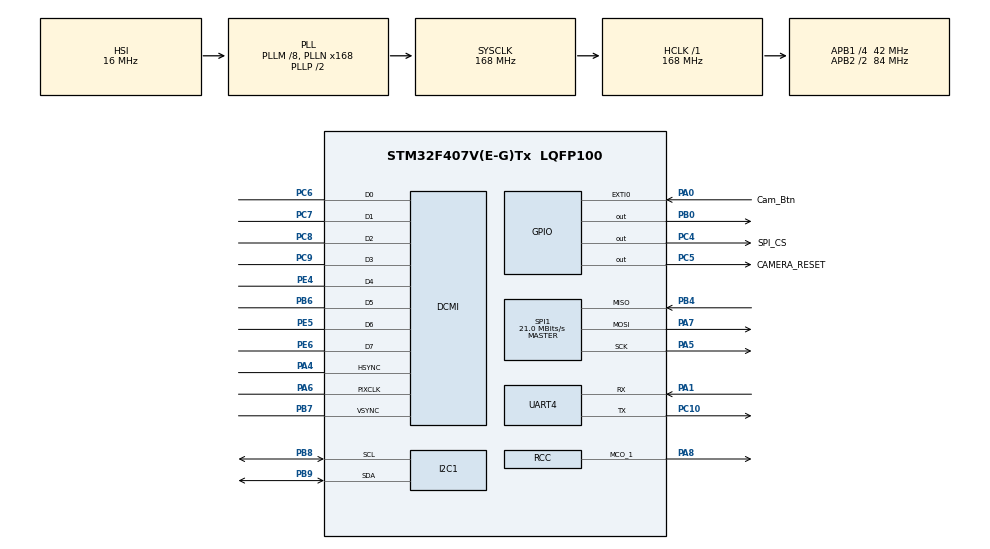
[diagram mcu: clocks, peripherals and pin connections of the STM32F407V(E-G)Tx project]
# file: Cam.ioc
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DCMI.HSPolarity=DCMI_HSPOLARITY_LOW
DCMI.PCKPolarity=DCMI_PCKPOLARITY_RISING
DCMI.VSPolarity=DCMI_VSPOLARITY_HIGH
Dma.DCMI.0.Direction=DMA_PERIPH_TO_MEMORY
Dma.DCMI.0.FIFOMode=DMA_FIFOMODE_ENABLE
Dma.DCMI.0.FIFOThreshold=DMA_FIFO_THRESHOLD_FULL
Dma.DCMI.0.Instance=DMA2_Stream1
Dma.DCMI.0.MemBurst=DMA_MBURST_INC4
Dma.DCMI.0.MemDataAlignment=DMA_MDATAALIGN_WORD
Dma.DCMI.0.MemInc=DMA_MINC_ENABLE
Dma.DCMI.0.Mode=DMA_NORMAL
Dma.DCMI.0.PeriphBurst=DMA_PBURST_SINGLE
Dma.DCMI.0.PeriphDataAlignment=DMA_PDATAALIGN_WORD
Dma.DCMI.0.PeriphInc=DMA_PINC_DISABLE
Dma.DCMI.0.Priority=DMA_PRIORITY_LOW
Dma.Request0=DCMI
FATFS._MAX_SS=4096
Mcu.Family=STM32F4
Mcu.Name=STM32F407V(E-G)Tx
Mcu.Package=LQFP100
NVIC.DCMI_IRQn=true\:0\:0\:false\:false\:true\:true\:true
NVIC.DMA2_Stream1_IRQn=true\:0\:0\:false\:false\:true\:false\:true
NVIC.EXTI0_IRQn=true\:0\:0\:false\:false\:true\:true\:true
NVIC.I2C1_ER_IRQn=true\:0\:0\:false\:false\:true\:true\:true
NVIC.I2C1_EV_IRQn=true\:0\:0\:false\:false\:true\:true\:true
NVIC.PriorityGroup=NVIC_PRIORITYGROUP_4
NVIC.UART4_IRQn=true\:0\:0\:false\:false\:true\:true\:true
PA0-WKUP.GPIO_Label=Cam_Btn
PA0-WKUP.Signal=GPXTI0
PA1.Mode=Asynchronous
PA1.Signal=UART4_RX
PA4.GPIO_Speed=GPIO_SPEED_FREQ_LOW
PA4.Mode=Slave_8_bits_External_Synchro
PA4.Signal=DCMI_HSYNC
PA5.Mode=Full_Duplex_Master
PA5.Signal=SPI1_SCK
PA6.Mode=Slave_8_bits_External_Synchro
PA6.Signal=DCMI_PIXCLK
PA7.Mode=Full_Duplex_Master
PA7.Signal=SPI1_MOSI
PA8.GPIO_PuPd=GPIO_PULLUP
PA8.GPIO_Speed=GPIO_SPEED_FREQ_HIGH
PA8.Mode=Clock-out-1
PA8.Signal=RCC_MCO_1
PB0.Signal=GPIO_Output
PB4.Mode=Full_Duplex_Master
PB4.Signal=SPI1_MISO
PB6.Mode=Slave_8_bits_External_Synchro
PB6.Signal=DCMI_D5
PB7.Mode=Slave_8_bits_External_Synchro
PB7.Signal=DCMI_VSYNC
PB8.Mode=I2C
PB8.Signal=I2C1_SCL
PB9.Mode=I2C
PB9.Signal=I2C1_SDA
PC10.Mode=Asynchronous
PC10.Signal=UART4_TX
PC4.GPIO_Label=SPI_CS
PC4.Signal=GPIO_Output
PC5.GPIO_Label=CAMERA_RESET
PC5.Signal=GPIO_Output
PC6.Mode=Slave_8_bits_External_Synchro
PC6.Signal=DCMI_D0
PC7.Mode=Slave_8_bits_External_Synchro
PC7.Signal=DCMI_D1
PC8.Mode=Slave_8_bits_External_Synchro
PC8.Signal=DCMI_D2
PC9.Mode=Slave_8_bits_External_Synchro
PC9.Signal=DCMI_D3
PE4.Mode=Slave_8_bits_External_Synchro
PE4.Signal=DCMI_D4
PE5.Mode=Slave_8_bits_External_Synchro
PE5.Signal=DCMI_D6
PE6.Mode=Slave_8_bits_External_Synchro
PE6.Signal=DCMI_D7
PH0-OSC_IN.Mode=HSE-External-Oscillator
PH0-OSC_IN.Signal=RCC_OSC_IN
PH1-OSC_OUT.Mode=HSE-External-Oscillator
PH1-OSC_OUT.Signal=RCC_OSC_OUT
ProjectManager.HeapSize=0x200
ProjectManager.StackSize=0x400
ProjectManager.TargetToolchain=STM32CubeIDE
RCC.48MHZClocksFreq_Value=84000000
RCC.AHBFreq_Value=168000000
RCC.APB1CLKDivider=RCC_HCLK_DIV4
RCC.APB1Freq_Value=42000000
RCC.APB1TimFreq_Value=84000000
RCC.APB2CLKDivider=RCC_HCLK_DIV2
RCC.APB2Freq_Value=84000000
RCC.APB2TimFreq_Value=168000000
RCC.CortexFreq_Value=168000000
RCC.HCLKFreq_Value=168000000
RCC.HSE_VALUE=8000000
RCC.HSI_VALUE=16000000
RCC.LSE_VALUE=32768
RCC.PLLM=8
RCC.PLLN=168
RCC.SYSCLKFreq_VALUE=168000000
RCC.SYSCLKSource=RCC_SYSCLKSOURCE_PLLCLK
RCC.VCOOutputFreq_Value=336000000
SPI1.BaudRatePrescaler=SPI_BAUDRATEPRESCALER_4
SPI1.CalculateBaudRate=21.0 MBits/s
SPI1.Direction=SPI_DIRECTION_2LINES
SPI1.Mode=SPI_MODE_MASTER
SPI1.VirtualType=VM_MASTER
UART4.VirtualMode=Asynchronous
VP_FATFS_VS_Generic.Mode=User_defined
board=custom

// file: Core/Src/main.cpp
/* USER CODE BEGIN Header */
/**
  ******************************************************************************
  * @file           : main.c
  * @brief          : Main program body
  ******************************************************************************
  * @attention
  *
  * <h2><center>&copy; Copyright (c) 2022 STMicroelectronics.
  * All rights reserved.</center></h2>
  *
  * This software component is licensed by ST under BSD 3-Clause license,
  * the "License"; You may not use this file except in compliance with the
  * License. You may obtain a copy of the License at:
  *                        opensource.org/licenses/BSD-3-Clause
  *
  ******************************************************************************
  */
/* USER CODE END Header */
#include "main.h"
#include "fatfs.h"

/* USER CODE BEGIN Includes */
#include <stdlib.h>
#include "camera.h"

#include "DataLinKLayer.h"
#include "CRC.h"
#include "stm32f407xx.h"
#include "bmp.h"
/* USER CODE END Includes */

DCMI_HandleTypeDef hdcmi;
DMA_HandleTypeDef hdma_dcmi;

I2C_HandleTypeDef hi2c1;

SPI_HandleTypeDef hspi1;
UINT byteswritten;
bool write_flag = false;
UART_HandleTypeDef huart4;

void SystemClock_Config(void);
static void MX_GPIO_Init(void);
static void MX_DCMI_Init(void);
static void MX_I2C1_Init(void);
static void MX_SPI1_Init(void);
static void MX_DMA_Init(void);
static void MX_UART4_Init(void);
/* USER CODE BEGIN PFP */
void write(uint8_t val);
void read(uint8_t *UardRecivedData, uint16_t len);
TT_DataLinkLayerPoint<2048, 1000> ttDataLinkLayerPoint(write, read);
/* USER CODE END PFP */

/* USER CODE BEGIN 0 */
/*
static const uint8_t bmp_tou[54]={
		0x42, 0x4d, 0x36, 0x29, 0x01, 0x00, 0x00, 0x00, 0x00, 0x00, 0x36, 0x00, 0x00, 0x00, 0x28, 0x00,
		0x00, 0x00, 0xb0, 0x00, 0x00, 0x00, 0x90, 0x00, 0x00, 0x00, 0x01, 0x00, 0x18, 0x00, 0x00, 0x00,
		0x00, 0x00, 0x00, 0x29, 0x01, 0x00, 0x00, 0x00, 0x00, 0x00, 0x00, 0x00, 0x00, 0x00, 0x00, 0x00,
		0x00, 0x00, 0x00, 0x00, 0x00, 0x00
       };
*/
/*//174*120
static const uint8_t bmp_tou[54]={
		0x42, 0x4d, 0xb6, 0xf7, 0x00, 0x00, 0x00, 0x00, 0x00, 0x00, 0x36, 0x00, 0x00, 0x00, 0x28, 0x00,
		0x00, 0x00, 0xb0, 0x00, 0x00, 0x00, 0x78, 0x00, 0x00, 0x00, 0x01, 0x00, 0x18, 0x00, 0x00, 0x00,
		0x00, 0x00, 0x00, 0xf7, 0x01, 0x00, 0x00, 0x00, 0x00, 0x00, 0x00, 0x00, 0x00, 0x00, 0x00, 0x00,
		0x00, 0x00, 0x00, 0x00, 0x00, 0x00
       };

//*/
/*//144*176
static const uint8_t bmp_tou[54]={
		0x42, 0x4d, 0x36, 0x29, 0x01, 0x00, 0x00, 0x00, 0x00, 0x00, 0x36, 0x00, 0x00, 0x00, 0x28, 0x00,
		0x00, 0x00, 0x90, 0x00, 0x00, 0x00, 0xb0, 0x00, 0x00, 0x00, 0x01, 0x00, 0x18, 0x00, 0x00, 0x00,
		0x00, 0x00, 0x00, 0x29, 0x01, 0x00, 0x00, 0x00, 0x00, 0x00, 0x00, 0x00, 0x00, 0x00, 0x00, 0x00,
		0x00, 0x00, 0x00, 0x00, 0x00, 0x00
       };

//*/
/*//174*120
static const uint8_t bmp_tou[54]={
		0x42, 0x4D, 0xD6, 0xF5, 0x00, 0x00, 0x00, 0x00, 0x00, 0x00, 0x36, 0x00, 0x00, 0x00, 0x28, 0x00,
		0x00, 0x00, 0xAE, 0x00, 0x00, 0x00, 0x78, 0x00, 0x00, 0x00, 0x01, 0x00, 0x18, 0x00, 0x00, 0x00,
		0x00, 0x00, 0xA0, 0xF5, 0x00, 0x00, 0x74, 0x12, 0x00, 0x00, 0x74, 0x12, 0x00, 0x00, 0x00, 0x00,
		0x00, 0x00, 0x00, 0x00, 0x00, 0x00
       };

//*/
//176*144
/*
static const uint8_t bmp_tou[54]={
		0x42, 0x4d, 0xf6, 0x26, 0x01, 0x00, 0x00, 0x00, 0x00, 0x00, 0x36, 0x00, 0x00, 0x00, 0x28, 0x00,
		0x00, 0x00, 0xae, 0x00, 0x00, 0x00, 0x90, 0x00, 0x00, 0x00, 0x01, 0x00, 0x18, 0x00, 0x00, 0x00,
		0x00, 0x00, 0xc0, 0x26, 0x01, 0x00, 0x00, 0x00, 0x00, 0x00, 0x00, 0x00, 0x00, 0x00, 0x00, 0x00,
		0x00, 0x00, 0x00, 0x00, 0x00, 0x00
       };
//*/

//171*144
/*
static const uint8_t bmp_tou[54]={
		0x42, 0x4d, 0xc6, 0x20, 0x01, 0x00, 0x00, 0x00, 0x00, 0x00, 0x36, 0x00, 0x00, 0x00, 0x28, 0x00,
		0x00, 0x00, 0x90, 0x00, 0x00, 0x00, 0xab, 0x00, 0x00, 0x00, 0x01, 0x00, 0x18, 0x00, 0x00, 0x00,
		0x00, 0x00, 0x00, 0x00, 0x00, 0x00, 0xc4, 0x0e, 0x00, 0x00, 0xc4, 0x0e, 0x00, 0x00, 0x00, 0x00,
		0x00, 0x00, 0x00, 0x00, 0x00, 0x00
       };
//*/

//171*145
//*
static const uint8_t bmp_tou[54]={
		0x42, 0x4d, 0x7a, 0x24, 0x01, 0x00, 0x00, 0x00, 0x00, 0x00, 0x36, 0x00, 0x00, 0x00, 0x28, 0x00,
		0x00, 0x00, 0xab, 0x00, 0x00, 0x00, 0x91, 0x00, 0x00, 0x00, 0x01, 0x00, 0x18, 0x00, 0x00, 0x00,
		0x00, 0x00, 0x44, 0x24, 0x01, 0x00, 0x00, 0x00, 0x00, 0x00, 0x00, 0x00, 0x00, 0x00, 0x00, 0x00,
		0x00, 0x00, 0x00, 0x00, 0x00, 0x00
       };
//*/

//320*144
/*
static const uint8_t bmp_tou[54]={
		0x42, 0x4d, 0x36, 0x1c, 0x02, 0x00, 0x00, 0x00, 0x00, 0x00, 0x36, 0x00, 0x00, 0x00, 0x28, 0x00,
		0x00, 0x00, 0x40, 0x01, 0x00, 0x00, 0x90, 0x00, 0x00, 0x00, 0x01, 0x00, 0x18, 0x00, 0x00, 0x00,
		0x00, 0x00, 0x1c, 0x02, 0x00, 0x00, 0x00, 0x00, 0x00, 0x00, 0x00, 0x00, 0x00, 0x00, 0x00, 0x00,
		0x00, 0x00, 0x00, 0x00, 0x00, 0x00
       };
//*/
uint8_t buffer[6];

uint8_t R,G,B;

uint16_t adres[IMAGE_SIZE]={0};

FATFS fs;  // file system
FIL fil; // File
FILINFO fno;
FRESULT fresult;  // result
UINT br, bw;  // File read/write count

/**** capacity related *****/
FATFS *pfs;
DWORD fre_clust;
uint32_t total, free_space;

uint8_t white[690]={0xFF};

#define RGB565_TO_R(pixel)   (((pixel & 0x1F) << 3) | ((((pixel & 0x1F) << 3) & 0xE0) >> 5));
#define RGB565_TO_G(pixel)   (((pixel & 0x7E0) >> 3) | ((((pixel & 0x7E0) >> 3) & 0xC0) >> 6));
#define RGB565_TO_B(pixel)   (((pixel & 0xF800) >> 8) | ((((pixel & 0xF800) >> 8) & 0xE0) >> 5));

void createPhoto()
{
	uint8_t finish = 0x03;
	write_flag = false;
	//отправка шапки
	ttDataLinkLayerPoint.Send(bmp_tou,54);
	while(write_flag == false);
	write_flag = false;
//	ttDataLinkLayerPoint.Send(bmpData,74442);
	//ttDataLinkLayerPoint.send(adres,IMAGE_SIZE);
	//*
	uint16_t rgb_datr;
	uint32_t adress;
	for (int i = 0; i < IMAGE_SIZE; i++)
	{
//		adress = adres[i] ;
//		rgb_datr = adress & 0x0000FFFF;
//		buffer[2] = RGB565_TO_B(rgb_datr);
//		buffer[1] = RGB565_TO_G(rgb_datr);
//		buffer[0] = RGB565_TO_R(rgb_datr);

//		ttDataLinkLayerPoint.Send(buffer,3);
//		while(write_flag == false);
//		write_flag = false;
//		HAL_Delay(1);

//		rgb_datr = (adress>>16) & 0xFFFF;
		buffer[2] = RGB565_TO_B(adres[i]);
		buffer[1] = RGB565_TO_G(adres[i]);
		buffer[0] = RGB565_TO_R(adres[i]);

		ttDataLinkLayerPoint.Send(buffer,3);
		while(write_flag == false);
		write_flag = false;
//		HAL_Delay(1);

	}
	//*/
/*
	uint8_t *buf = (uint8_t *) adres;
	int length = IMAGE_SIZE * 4;
	for(int i=231; i < length; i+=2)
	{
		buffer[0] = buf[i];
		buffer[1] = buf[i];
		buffer[2] = buf[i];
		ttDataLinkLayerPoint.Send(buffer,3);
	}
	*/

	ttDataLinkLayerPoint.Send(white,690);

	for(int i = 0; i < 0xFFFF; i++);
	ttDataLinkLayerPoint.Send(&finish,1);

//	while(1);
//	fresult = f_mount(&fs, "/", 1);
//	f_getfree("", &fre_clust, &pfs);
//	total = (uint32_t)((pfs->n_fatent - 2) * pfs->csize * 0.5);
//	free_space = (uint32_t)(fre_clust * pfs->csize * 0.5);
//	fresult = f_open(&fil, "file.bmp", FA_OPEN_ALWAYS | FA_READ | FA_WRITE);
//
//	fresult = f_write(&fil,bmp_tou,54,&byteswritten);
	//f_write(&fil,white,115,1);
	/*
	uint8_t *buf = (uint8_t *) adres;
	int length = IMAGE_SIZE * 4;
	for(int i=231; i < length; i+=2)
	{
		buffer[0] = buf[i];
		buffer[1] = buf[i];
		buffer[2] = buf[i];
		f_write(&fil,buffer,3,1);
	}
	//*/

	//*
//	uint16_t rgb_datr;
//	uint32_t adress;
//	for (int i = 0; i < IMAGE_SIZE; i++)
//	{
//		adress = adres[i];
//
//		rgb_datr =(uint16_t) adress;
//		/*
//		B = (uint8_t)(rgb_datr & 0x1f);
//		B = (uint8_t)(8.225*B);
//		G = (uint8_t)((rgb_datr>>5) & 0x3f);
//		G = (uint8_t)(4.047*G);
//		R = (uint8_t)((rgb_datr>>11) & 0x1f);
//		R = (uint8_t)(8.225*R);
//		buffer[2] = B;
//		buffer[1] = G;
//		buffer[0] = R;
//		*/
//		buffer[2] = RGB565_TO_B(rgb_datr);
//		buffer[1] = RGB565_TO_G(rgb_datr);
//		buffer[0] = RGB565_TO_R(rgb_datr);
//
//		f_write(&fil,buffer,3,&byteswritten);
//
//		rgb_datr = (adress>>16);
//		/*
//		B = (uint8_t)(rgb_datr & 0x1f);
//		B = (uint8_t)(8.225*B);
//		G = (uint8_t)((rgb_datr>>5) & 0x3f);
//		G = (uint8_t)(4.047*G);
//		R = (uint8_t)((rgb_datr>>11) & 0x1f);
//		R = (uint8_t)(8.225*R);
//		buffer[2] = B;
//		buffer[1] = G;
//		buffer[0] = R;
//		*/
//		buffer[2] = RGB565_TO_B(rgb_datr);
//		buffer[1] = RGB565_TO_G(rgb_datr);
//		buffer[0] = RGB565_TO_R(rgb_datr);
//
//		fresult = f_write(&fil,buffer,3,&byteswritten);
//
//
//	}
//*/
//	f_close(&fil);
}

void createPhotoFlesh()
{
		fresult = f_mount(&fs, "/", 1);
		f_getfree("", &fre_clust, &pfs);
		total = (uint32_t)((pfs->n_fatent - 2) * pfs->csize * 0.5);
		free_space = (uint32_t)(fre_clust * pfs->csize * 0.5);
		fresult = f_open(&fil, "file.bmp", FA_OPEN_ALWAYS | FA_READ | FA_WRITE);

		fresult = f_write(&fil,bmp_tou,54,&byteswritten);

		/*
		f_write(&fil,white,115,1);
		uint8_t *buf = (uint8_t *) adres;
		int length = IMAGE_SIZE * 4;
		for(int i=231; i < length; i+=2)
		{
			buffer[0] = buf[i];
			buffer[1] = buf[i];
			buffer[2] = buf[i];
			f_write(&fil,buffer,3,1);
		}
		//*/

		//*
		uint16_t rgb_datr;
		uint32_t adress;
		for (int i = 0; i < IMAGE_SIZE; i++)
		{
//			adress = adres[i];

//			rgb_datr =(uint16_t) adress;
			/*
			B = (uint8_t)(rgb_datr & 0x1f);
			B = (uint8_t)(8.225*B);
			G = (uint8_t)((rgb_datr>>5) & 0x3f);
			G = (uint8_t)(4.047*G);
			R = (uint8_t)((rgb_datr>>11) & 0x1f);
			R = (uint8_t)(8.225*R);
			buffer[2] = B;
			buffer[1] = G;
			buffer[0] = R;
			*/
			buffer[2] = RGB565_TO_B(adres[i]);
			buffer[1] = RGB565_TO_G(adres[i]);
			buffer[0] = RGB565_TO_R(adres[i]);

//			f_write(&fil,buffer,3,&byteswritten);

//			rgb_datr = (adress>>16);
			/*
			B = (uint8_t)(rgb_datr & 0x1f);
			B = (uint8_t)(8.225*B);
			G = (uint8_t)((rgb_datr>>5) & 0x3f);
			G = (uint8_t)(4.047*G);
			R = (uint8_t)((rgb_datr>>11) & 0x1f);
			R = (uint8_t)(8.225*R);
			buffer[2] = B;
			buffer[1] = G;
			buffer[0] = R;

			*/
//			buffer[5] = RGB565_TO_B(rgb_datr);
//			buffer[4] = RGB565_TO_G(rgb_datr);
//			buffer[3] = RGB565_TO_R(rgb_datr);

			fresult = f_write(&fil,buffer,3,&byteswritten);

		}
	//*/
		f_close(&fil);
}

/* USER CODE END 0 */

int main(void)
{

  /* MCU Configuration--------------------------------------------------------*/

  /* Reset of all peripherals, Initializes the Flash interface and the Systick. */
  HAL_Init();

  /* Configure the system clock */
  SystemClock_Config();

  /* Initialize all configured peripherals */
  MX_GPIO_Init();
  MX_DMA_Init();
  MX_DCMI_Init();
  MX_I2C1_Init();
  MX_SPI1_Init();
  MX_FATFS_Init();
  MX_UART4_Init();
  uint8_t abc;
  HAL_UART_Receive_IT(&huart4, (uint8_t*)&abc, 1);
  /* USER CODE BEGIN 2 */

  //HAL_DCMI_Start_DMA(&hdcmi, DCMI_MODE_SNAPSHOT, (uint32_t)adres, 176*144/2);

  HAL_GPIO_WritePin(CAMERA_RESET_GPIO_Port, CAMERA_RESET_Pin, GPIO_PIN_SET);
  HAL_StatusTypeDef ret =  Camera_init(&hi2c1);

  while(ret != HAL_OK)
  {
	  ret = Camera_init(&hi2c1);
  }
  Camera_config();
  //1000 0000 0000 0011 _ 0110 0101 1010 00
  //1011 0000 1000 0110 _ 1011 0101 1000 0000
  //1000 0000 0000 1000 _ 0000 0000 0000 00

  //adres[2]=0xA1A1B1B1;
  //adres[3]=(uint32_t)&adres;
  HAL_Delay(1000);
  while(hdcmi.State != HAL_DCMI_STATE_READY)
  {

  }
  //HAL_GPIO_WritePin(GPIOB, GPIO_PIN_0, GPIO_PIN_SET);
  ret = HAL_DCMI_Start_DMA(&hdcmi, DCMI_MODE_SNAPSHOT, (uint32_t)adres, IMAGE_SIZE);
  //HAL_GPIO_WritePin(GPIOB, GPIO_PIN_0, GPIO_PIN_RESET);
  //HAL_DCMI_Stop(&hdcmi);

//  while((hdcmi.Instance->CR & DCMI_CR_CAPTURE)!= 0){
//
//  }

  //HAL_Delay(500);
//  ret = HAL_DCMI_Start_DMA(&hdcmi, DCMI_MODE_SNAPSHOT, (uint32_t)adres, IMAGE_SIZE);
//  HAL_Delay(500);
//  ret = HAL_DCMI_Start_DMA(&hdcmi, DCMI_MODE_SNAPSHOT, (uint32_t)adres, IMAGE_SIZE);
//  HAL_Delay(500);

  //HAL_DCMI_Stop(&hdcmi);

//  fresult = f_mount(&fs, "/", 1);

  /* Check free space */
//  f_getfree("", &fre_clust, &pfs);
//
//  total = (uint32_t)((pfs->n_fatent - 2) * pfs->csize * 0.5);
//
//  free_space = (uint32_t)(fre_clust * pfs->csize * 0.5);

  /* Open file to write/ create a file if it doesn't exist */
//  fresult = f_open(&fil, "file1.bmp", FA_OPEN_ALWAYS | FA_READ | FA_WRITE);

//    f_puts(bmp_tou, &fil);
//  f_write(&fil,bmp_tou,54,1);
/*

  uint16_t rgb_datr;
  uint32_t adress;
  for (int i = 0; i < IMAGE_SIZE; i++)
  {
	adress = adres[i];

	//adress = hdcmi.Instance->DR;

	rgb_datr = (adress>>16);
	B = (uint8_t)(rgb_datr & 0x1f);
	B = (uint8_t)(8.225*B);
	G = (uint8_t)((rgb_datr>>5) & 0x3f);
	G = (uint8_t)(4.047*G);
	R = (uint8_t)((rgb_datr>>11) & 0x1f);
	R = (uint8_t)(8.225*R);
//        B = ((uint8_t)rgb_datr) & 0x1f;
//        G = ((uint8_t)(rgb_datr>>5)) & 0x3f;
//        R = ((uint8_t)(rgb_datr>>11)) & 0x1f;
	buffer[2] = B;
	buffer[1] = G;
	buffer[0] = R;
//    	f_puts(buffer, &fil);
	f_write(&fil,buffer,3,1);

	rgb_datr =(uint16_t) adress;
	B = (uint8_t)(rgb_datr & 0x1f);
	B = (uint8_t)(8.225*B);
	G = (uint8_t)((rgb_datr>>5) & 0x3f);
	G = (uint8_t)(4.047*G);
	R = (uint8_t)((rgb_datr>>11) & 0x1f);
	R = (uint8_t)(8.225*R);

//        B = ((uint8_t)rgb_datr) & 0x1f;
//        G = ((uint8_t)(rgb_datr>>5)) & 0x3f;
//        R = ((uint8_t)(rgb_datr>>11)) & 0x1f;
	buffer[2] = B;
	buffer[1] = G;
	buffer[0] = R;
//    	f_puts(buffer, &fil);
	f_write(&fil,buffer,3,1);

//    	adres++;

  }
*/
  /* Writing text */
//    f_puts("This data is from the FILE1.txt. And it was written using ...f_puts... sdasd asd asdsa d ", &fil);

  /* Close file */
//  fresult = f_close(&fil);
//  createPhoto();

//  while(1);
  /* USER CODE END 2 */

  /* Infinite loop */
  /* USER CODE BEGIN WHILE */
  int bul=1;
  HAL_GPIO_WritePin(GPIOB, GPIO_PIN_0, GPIO_PIN_RESET);
  while (1)
  {
	  if(adres[0]!=0 && adres[IMAGE_SIZE-1]==0)
	  {
		  HAL_GPIO_WritePin(GPIOB, GPIO_PIN_0, GPIO_PIN_SET);

	  }
	  if(adres[IMAGE_SIZE-1]!=0 && bul==1)
	  {
		  bul=0;
		  HAL_GPIO_WritePin(GPIOB, GPIO_PIN_0, GPIO_PIN_RESET);
//		  createPhotoFlesh();
		  createPhoto();
	  }
    /* USER CODE END WHILE */

  }
}

void SystemClock_Config(void)
{
  RCC_OscInitTypeDef RCC_OscInitStruct = {0};
  RCC_ClkInitTypeDef RCC_ClkInitStruct = {0};

  /** Configure the main internal regulator output voltage
  */
  __HAL_RCC_PWR_CLK_ENABLE();
  __HAL_PWR_VOLTAGESCALING_CONFIG(PWR_REGULATOR_VOLTAGE_SCALE1);
  /** Initializes the RCC Oscillators according to the specified parameters
  * in the RCC_OscInitTypeDef structure.
  */
  RCC_OscInitStruct.OscillatorType = RCC_OSCILLATORTYPE_HSI;
  RCC_OscInitStruct.HSIState = RCC_HSI_ON;
  RCC_OscInitStruct.HSICalibrationValue = RCC_HSICALIBRATION_DEFAULT;
  RCC_OscInitStruct.PLL.PLLState = RCC_PLL_ON;
  RCC_OscInitStruct.PLL.PLLSource = RCC_PLLSOURCE_HSI;
  RCC_OscInitStruct.PLL.PLLM = 8;
  RCC_OscInitStruct.PLL.PLLN = 168;
  RCC_OscInitStruct.PLL.PLLP = RCC_PLLP_DIV2;
  RCC_OscInitStruct.PLL.PLLQ = 4;
  if (HAL_RCC_OscConfig(&RCC_OscInitStruct) != HAL_OK)
  {
    Error_Handler();
  }
  /** Initializes the CPU, AHB and APB buses clocks
  */
  RCC_ClkInitStruct.ClockType = RCC_CLOCKTYPE_HCLK|RCC_CLOCKTYPE_SYSCLK
                              |RCC_CLOCKTYPE_PCLK1|RCC_CLOCKTYPE_PCLK2;
  RCC_ClkInitStruct.SYSCLKSource = RCC_SYSCLKSOURCE_PLLCLK;
  RCC_ClkInitStruct.AHBCLKDivider = RCC_SYSCLK_DIV1;
  RCC_ClkInitStruct.APB1CLKDivider = RCC_HCLK_DIV4;
  RCC_ClkInitStruct.APB2CLKDivider = RCC_HCLK_DIV2;

  if (HAL_RCC_ClockConfig(&RCC_ClkInitStruct, FLASH_LATENCY_5) != HAL_OK)
  {
    Error_Handler();
  }
  HAL_RCC_MCOConfig(RCC_MCO1, RCC_MCO1SOURCE_HSI, RCC_MCODIV_1);
}

static void MX_DCMI_Init(void)
{

  hdcmi.Instance = DCMI;
  hdcmi.Init.SynchroMode = DCMI_SYNCHRO_HARDWARE;
  hdcmi.Init.PCKPolarity = DCMI_PCKPOLARITY_RISING;
  hdcmi.Init.VSPolarity = DCMI_VSPOLARITY_HIGH;
  hdcmi.Init.HSPolarity = DCMI_HSPOLARITY_LOW;
  hdcmi.Init.CaptureRate = DCMI_CR_ALL_FRAME;
  hdcmi.Init.ExtendedDataMode = DCMI_EXTEND_DATA_8B;
  hdcmi.Init.JPEGMode = DCMI_JPEG_DISABLE;
  if (HAL_DCMI_Init(&hdcmi) != HAL_OK)
  {
    Error_Handler();
  }

}

static void MX_I2C1_Init(void)
{

  hi2c1.Instance = I2C1;
  hi2c1.Init.ClockSpeed = 100000;
  hi2c1.Init.DutyCycle = I2C_DUTYCYCLE_2;
  hi2c1.Init.OwnAddress1 = 0;
  hi2c1.Init.AddressingMode = I2C_ADDRESSINGMODE_7BIT;
  hi2c1.Init.DualAddressMode = I2C_DUALADDRESS_DISABLE;
  hi2c1.Init.OwnAddress2 = 0;
  hi2c1.Init.GeneralCallMode = I2C_GENERALCALL_DISABLE;
  hi2c1.Init.NoStretchMode = I2C_NOSTRETCH_DISABLE;
  if (HAL_I2C_Init(&hi2c1) != HAL_OK)
  {
    Error_Handler();
  }

}

static void MX_SPI1_Init(void)
{

  /* SPI1 parameter configuration*/
  hspi1.Instance = SPI1;
  hspi1.Init.Mode = SPI_MODE_MASTER;
  hspi1.Init.Direction = SPI_DIRECTION_2LINES;
  hspi1.Init.DataSize = SPI_DATASIZE_8BIT;
  hspi1.Init.CLKPolarity = SPI_POLARITY_LOW;
  hspi1.Init.CLKPhase = SPI_PHASE_1EDGE;
  hspi1.Init.NSS = SPI_NSS_SOFT;
  hspi1.Init.BaudRatePrescaler = SPI_BAUDRATEPRESCALER_4;
  hspi1.Init.FirstBit = SPI_FIRSTBIT_MSB;
  hspi1.Init.TIMode = SPI_TIMODE_DISABLE;
  hspi1.Init.CRCCalculation = SPI_CRCCALCULATION_DISABLE;
  hspi1.Init.CRCPolynomial = 10;
  if (HAL_SPI_Init(&hspi1) != HAL_OK)
  {
    Error_Handler();
  }

}

static void MX_DMA_Init(void)
{

  /* DMA controller clock enable */
  __HAL_RCC_DMA2_CLK_ENABLE();

  /* DMA interrupt init */
  /* DMA2_Stream1_IRQn interrupt configuration */
  HAL_NVIC_SetPriority(DMA2_Stream1_IRQn, 0, 0);
  HAL_NVIC_EnableIRQ(DMA2_Stream1_IRQn);

}

static void MX_GPIO_Init(void)
{
  GPIO_InitTypeDef GPIO_InitStruct = {0};

  /* GPIO Ports Clock Enable */
  __HAL_RCC_GPIOE_CLK_ENABLE();
  __HAL_RCC_GPIOH_CLK_ENABLE();
  __HAL_RCC_GPIOA_CLK_ENABLE();
  __HAL_RCC_GPIOC_CLK_ENABLE();
  __HAL_RCC_GPIOB_CLK_ENABLE();

  /*Configure GPIO pin Output Level */
  HAL_GPIO_WritePin(GPIOC, SPI_CS_Pin|CAMERA_RESET_Pin, GPIO_PIN_RESET);

  /*Configure GPIO pin Output Level */
  HAL_GPIO_WritePin(GPIOB, GPIO_PIN_0, GPIO_PIN_RESET);

  /*Configure GPIO pin : Cam_Btn_Pin */
  GPIO_InitStruct.Pin = Cam_Btn_Pin;
  GPIO_InitStruct.Mode = GPIO_MODE_IT_RISING;
  GPIO_InitStruct.Pull = GPIO_NOPULL;
  HAL_GPIO_Init(Cam_Btn_GPIO_Port, &GPIO_InitStruct);

  /*Configure GPIO pins : SPI_CS_Pin CAMERA_RESET_Pin */
  GPIO_InitStruct.Pin = SPI_CS_Pin|CAMERA_RESET_Pin;
  GPIO_InitStruct.Mode = GPIO_MODE_OUTPUT_PP;
  GPIO_InitStruct.Pull = GPIO_NOPULL;
  GPIO_InitStruct.Speed = GPIO_SPEED_FREQ_LOW;
  HAL_GPIO_Init(GPIOC, &GPIO_InitStruct);

  /*Configure GPIO pin : PB0 */
  GPIO_InitStruct.Pin = GPIO_PIN_0;
  GPIO_InitStruct.Mode = GPIO_MODE_OUTPUT_PP;
  GPIO_InitStruct.Pull = GPIO_NOPULL;
  GPIO_InitStruct.Speed = GPIO_SPEED_FREQ_LOW;
  HAL_GPIO_Init(GPIOB, &GPIO_InitStruct);

  /*Configure GPIO pin : PA8 */
  GPIO_InitStruct.Pin = GPIO_PIN_8;
  GPIO_InitStruct.Mode = GPIO_MODE_AF_PP;
  GPIO_InitStruct.Pull = GPIO_PULLUP;
  GPIO_InitStruct.Speed = GPIO_SPEED_FREQ_HIGH;
  GPIO_InitStruct.Alternate = GPIO_AF0_MCO;
  HAL_GPIO_Init(GPIOA, &GPIO_InitStruct);

  /* EXTI interrupt init*/
  HAL_NVIC_SetPriority(EXTI0_IRQn, 0, 0);
  HAL_NVIC_EnableIRQ(EXTI0_IRQn);

}

static void MX_UART4_Init(void)
{

  huart4.Instance = UART4;
  huart4.Init.BaudRate = 115200;
  huart4.Init.WordLength = UART_WORDLENGTH_8B;
  huart4.Init.StopBits = UART_STOPBITS_1;
  huart4.Init.Parity = UART_PARITY_NONE;
  huart4.Init.Mode = UART_MODE_TX_RX;
  huart4.Init.HwFlowCtl = UART_HWCONTROL_NONE;
  huart4.Init.OverSampling = UART_OVERSAMPLING_16;
//  HAL_UART_MspInit(&huart4);
  if (HAL_UART_Init(&huart4) != HAL_OK)
  {
    Error_Handler();
  }

}

volatile uint8_t FatFsCnt = 0;
volatile uint8_t Timer1, Timer2;

extern "C" void SDTimer_Handler(void)
{
  if(Timer1 > 0)
    Timer1--;

  if(Timer2 > 0)
    Timer2--;
}

extern "C" void SysTick_Handler(void)
{
  /* USER CODE BEGIN SysTick_IRQn 0 */
  FatFsCnt++;
  if(FatFsCnt >= 10)
  {
	FatFsCnt = 0;
	SDTimer_Handler();
  }
  /* USER CODE END SysTick_IRQn 0 */
  HAL_IncTick();
}

extern "C" void UART4_IRQHandler(void)
{
  /* USER CODE BEGIN UART4_IRQn 0 */
	ttDataLinkLayerPoint.RxByteHandler((uint8_t)UART4->DR);
  /* USER CODE END UART4_IRQn 0 */
  HAL_UART_IRQHandler(&huart4);
}

/* USER CODE BEGIN 4 */
void write(uint8_t val)
{
  HAL_UART_Transmit(&huart4, &val, 1, 0xFFFF);
}

void read(uint8_t *UardRecivedData, uint16_t len)
{
    if (len == 1)
    {
      if (UardRecivedData[0] == 0x02)
      {
    	  	 write_flag = true;
      }
    }
    else
    {

    }
}
/* USER CODE END 4 */

extern "C" void Error_Handler(void)
{
  __disable_irq();
  while (1)
  {
  }
}

/************************ (C) COPYRIGHT STMicroelectronics *****END OF FILE****/
